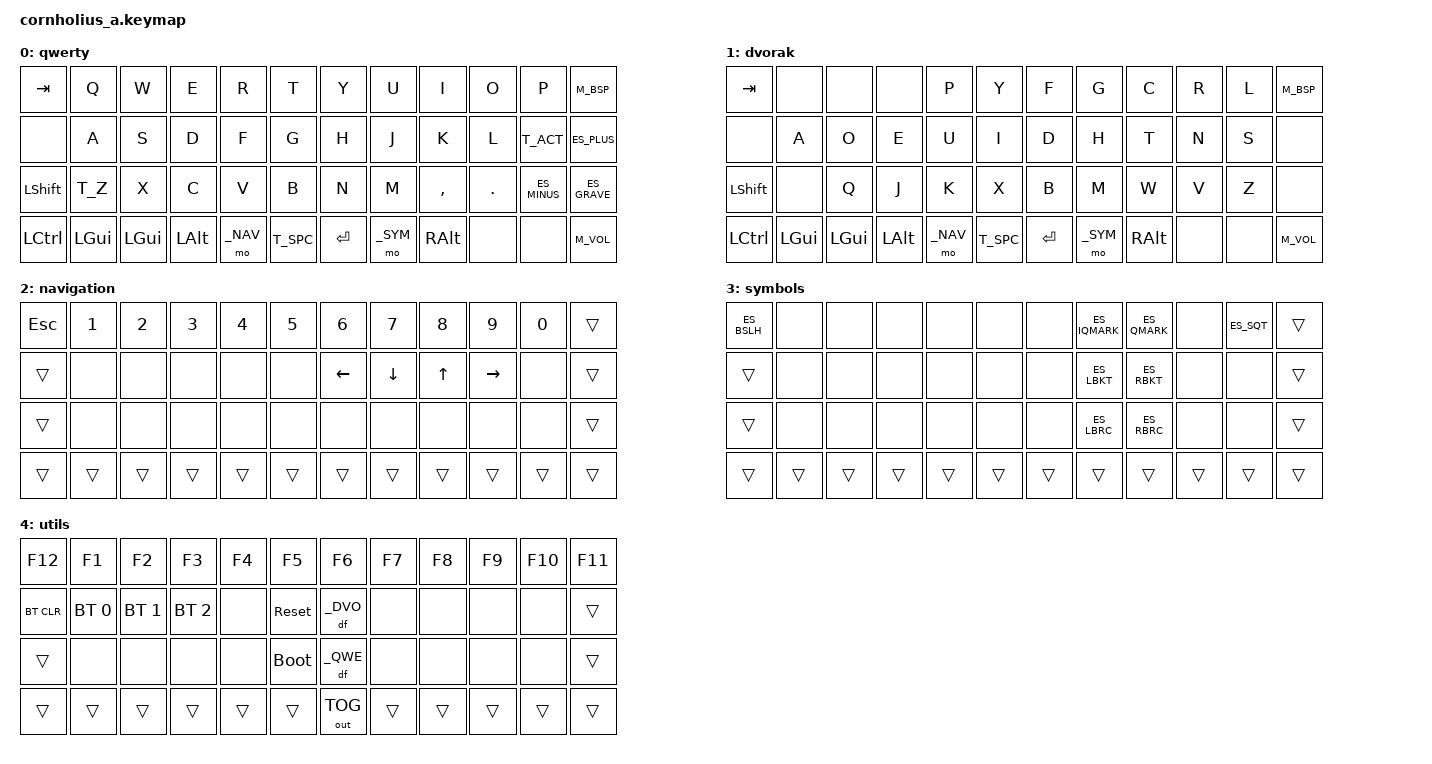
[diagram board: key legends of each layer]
/*
 * Copyright (c) 2024 The ZMK Contributors
 *
 * SPDX-License-Identifier: MIT
 */

#include <behaviors.dtsi>
#include <dt-bindings/zmk/bt.h>
#include <dt-bindings/zmk/keys.h>
#include <dt-bindings/zmk/outputs.h>

#include "keys_es.h"
#include "elpekenin/behaviors.dtsi"

#define _QWE 0
#define _DVO 1
#define _NAV 2
#define _SYM 3
#define _UTL 4

/ {
    mod_morphs {
        M_BSP: bspc_or_del {
            compatible = "zmk,behavior-mod-morph";
            #binding-cells = <0>;
            bindings = <&kp BSPC>, <&kp DEL>;
            mods = <(MOD_LSFT)>;
        };

        M_VOL: volup_or_voldn {
            compatible = "zmk,behavior-mod-morph";
            #binding-cells = <0>;
            bindings = <&kp C_VOL_UP>, <&kp C_VOL_DN>;
            mods = <(MOD_LSFT)>;
        };
    };

    macros {
        led_sleep: indicator_and_soft_off {
            compatible = "zmk,behavior-macro";
            #binding-cells = <0>;
            bindings = <&gpio 1 GPIO_TOG>, <&soft_off>;
        };

        __SPC: space_times_4 {
            compatible = "zmk,behavior-macro";
            #binding-cells = <0>;
            bindings = <&kp SPC>,
                       <&kp SPC>,
                       <&kp SPC>,
                       <&kp SPC>;
        };
    };

    tap_dances {
        T_Z: z_lt_gt {
            compatible = "zmk,behavior-tap-dance";
            #binding-cells = <0>;
            bindings = <&kp Z>, <&kp ES_LT>, <&kp ES_GT>;
        };

        T_ACT: acute_ntilde {
            compatible = "zmk,behavior-tap-dance";
            #binding-cells = <0>;
            bindings = <&kp ES_ACUTE>, <&kp ES_N_TILDE>;
        };

        T_SPC: space_indent {
            compatible = "zmk,behavior-tap-dance";
            #binding-cells = <0>;
            bindings = <&kp SPC>, <&__SPC>;
        };
    };

    conditional_layers {
        compatible = "zmk,conditional-layers";
        tri_layer {
            if-layers = <_NAV _SYM>;
            then-layer = <_UTL>;
        };
    };

    layer_callbacks {
        compatible = "elpekenin,layer-callback";
        utils_on {
            layer = <_UTL>;
            event = "on-activation";
            bindings = <&gpio 0 GPIO_ON>;
        };
        utils_off {
            layer = <_UTL>;
            event = "on-deactivation";
            bindings = <&gpio 0 GPIO_OFF>;
        };
    };
};

/* logic inverted to make stay ON during use, OFF while sleeping */
&blue {
    gpios = <&gpio1 2 GPIO_ACTIVE_HIGH>;
};

/* make soft-off toggle GPIO used for LED sleep state */
&soft_off_callback {
    bindings = <&led_sleep>;
};

/ {
    keymap {
        compatible = "zmk,keymap";

        qwerty {
            bindings = <
                &kp TAB       &kp Q         &kp W         &kp E         &kp R         &kp T         /**/     &kp Y         &kp U         &kp I         &kp O         &kp P         &M_BSP
                &none         &kp A         &kp S         &kp D         &kp F         &kp G         /**/     &kp H         &kp J         &kp K         &kp L         &T_ACT        &kp ES_PLUS
                &kp LSHFT     &T_Z          &kp X         &kp C         &kp V         &kp B         /**/     &kp N         &kp M         &kp COMMA     &kp DOT       &kp ES_MINUS  &kp ES_GRAVE
                &kp LCTRL     &kp LGUI      &kp LGUI      &kp LALT      &mo _NAV      &T_SPC        /**/     &kp ENTER     &mo _SYM      &kp RALT      &none         &none         &M_VOL
            >;
        };

        dvorak {
            bindings = <
                &kp TAB       &none         &none         &none         &kp P         &kp Y         /**/     &kp F         &kp G         &kp C         &kp R         &kp L         &M_BSP
                &none         &kp A         &kp O         &kp E         &kp U         &kp I         /**/     &kp D         &kp H         &kp T         &kp N         &kp S         &none
                &kp LSHFT     &none         &kp Q         &kp J         &kp K         &kp X         /**/     &kp B         &kp M         &kp W         &kp V         &kp Z         &none
                &kp LCTRL     &kp LGUI      &kp LGUI      &kp LALT      &mo _NAV      &T_SPC        /**/     &kp ENTER     &mo _SYM      &kp RALT      &none         &none         &M_VOL
            >;
        };

        navigation {
            bindings = <
                &kp ESC       &kp N1        &kp N2        &kp N3        &kp N4        &kp N5        /**/     &kp N6        &kp N7        &kp N8        &kp N9        &kp N0       &trans
                &trans        &none         &none         &none         &none         &none         /**/     &kp LEFT      &kp DOWN      &kp UP        &kp RIGHT     &none        &trans
                &trans        &none         &none         &none         &none         &none         /**/     &none         &none         &none         &none         &none        &trans
                &trans        &trans        &trans        &trans        &trans        &trans        /**/     &trans        &trans        &trans        &trans        &trans       &trans
            >;
        };

        symbols {
            bindings = <
                &kp ES_BSLH   &none         &none         &none         &none         &none         /**/     &none         &kp ES_IQMARK &kp ES_QMARK  &none         &kp ES_SQT    &trans
                &trans        &none         &none         &none         &none         &none         /**/     &none         &kp ES_LBKT   &kp ES_RBKT   &none         &none         &trans
                &trans        &none         &none         &none         &none         &none         /**/     &none         &kp ES_LBRC   &kp ES_RBRC   &none         &none         &trans
                &trans        &trans        &trans        &trans        &trans        &trans        /**/     &trans        &trans        &trans        &trans        &trans        &trans
            >;
        };

        utils {
            bindings = <
                &kp F12       &kp F1        &kp F2        &kp F3        &kp F4        &kp F5        /**/     &kp F6        &kp F7        &kp F8        &kp F9        &kp F10       &kp F11
                &bt BT_CLR    &bt BT_SEL 0  &bt BT_SEL 1  &bt BT_SEL 2  &none         &sys_reset    /**/     &df _DVO      &none         &none         &none         &none         &trans
                &trans        &none         &none         &none         &none         &bootloader   /**/     &df _QWE      &none         &none         &none         &none         &trans
                &trans        &trans        &trans        &trans        &trans        &trans        /**/     &out OUT_TOG  &trans        &trans        &trans        &trans        &trans
            >;
        };
    };
};
